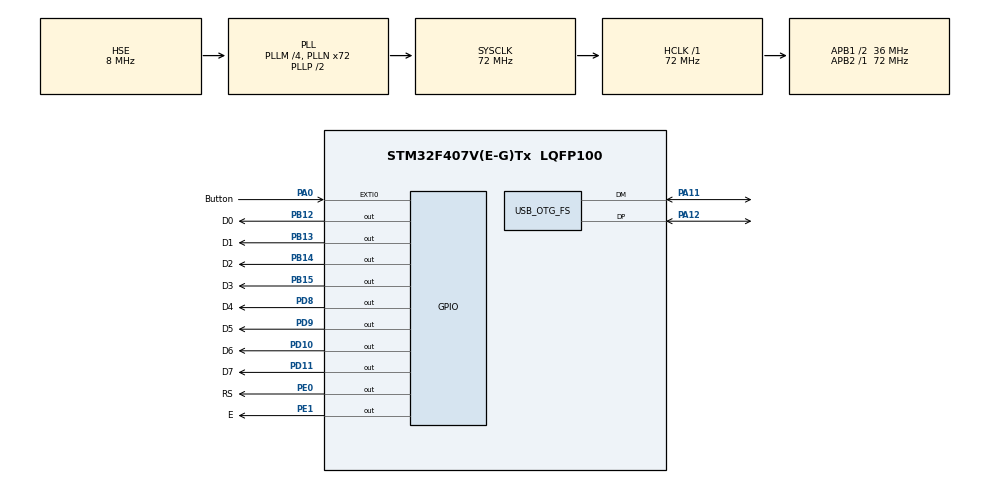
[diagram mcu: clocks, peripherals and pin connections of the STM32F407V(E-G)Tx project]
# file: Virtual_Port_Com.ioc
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Mcu.Family=STM32F4
Mcu.Name=STM32F407V(E-G)Tx
Mcu.Package=LQFP100
NVIC.OTG_FS_IRQn=true\:0\:0\:false\:false\:true\:false
NVIC.PriorityGroup=NVIC_PRIORITYGROUP_4
PA0-WKUP.GPIO_Label=Button
PA0-WKUP.Signal=GPXTI0
PA11.Mode=Device_Only
PA11.Signal=USB_OTG_FS_DM
PA12.Mode=Device_Only
PA12.Signal=USB_OTG_FS_DP
PB12.GPIO_Label=D0
PB12.Signal=GPIO_Output
PB13.GPIO_Label=D1
PB13.Signal=GPIO_Output
PB14.GPIO_Label=D2
PB14.Signal=GPIO_Output
PB15.GPIO_Label=D3
PB15.Signal=GPIO_Output
PD10.GPIO_Label=D6
PD10.Signal=GPIO_Output
PD11.GPIO_Label=D7
PD11.Signal=GPIO_Output
PD8.GPIO_Label=D4
PD8.Signal=GPIO_Output
PD9.GPIO_Label=D5
PD9.Signal=GPIO_Output
PE0.GPIO_Label=RS
PE0.Signal=GPIO_Output
PE1.GPIO_Label=E
PE1.Signal=GPIO_Output
PH0-OSC_IN.Mode=HSE-External-Oscillator
PH0-OSC_IN.Signal=RCC_OSC_IN
PH1-OSC_OUT.Mode=HSE-External-Oscillator
PH1-OSC_OUT.Signal=RCC_OSC_OUT
ProjectManager.HeapSize=0x200
ProjectManager.StackSize=0x400
ProjectManager.TargetToolchain=SW4STM32
RCC.48MHZClocksFreq_Value=48000000
RCC.AHBFreq_Value=72000000
RCC.APB1CLKDivider=RCC_HCLK_DIV2
RCC.APB1Freq_Value=36000000
RCC.APB1TimFreq_Value=72000000
RCC.APB2Freq_Value=72000000
RCC.APB2TimFreq_Value=72000000
RCC.CortexFreq_Value=72000000
RCC.HCLKFreq_Value=72000000
RCC.HSE_VALUE=8000000
RCC.HSI_VALUE=16000000
RCC.LSE_VALUE=32768
RCC.PLLM=4
RCC.PLLN=72
RCC.PLLQ=3
RCC.SYSCLKFreq_VALUE=72000000
RCC.SYSCLKSource=RCC_SYSCLKSOURCE_PLLCLK
RCC.VCOOutputFreq_Value=144000000
USB_DEVICE.CLASS_NAME_FS=CDC
USB_DEVICE.VirtualMode-CDC_FS=Cdc
USB_DEVICE.VirtualModeFS=Cdc_FS
USB_OTG_FS.VirtualMode=Device_Only
VP_USB_DEVICE_VS_USB_DEVICE_CDC_FS.Mode=CDC_FS
board=custom

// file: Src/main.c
/* USER CODE BEGIN Header */
/**
  ******************************************************************************
  * @file           : main.c
  * @brief          : Main program body
  ******************************************************************************
  * This notice applies to any and all portions of this file
  * that are not between comment pairs USER CODE BEGIN and
  * USER CODE END. Other portions of this file, whether
  * inserted by the user or by software development tools
  * are owned by their respective copyright owners.
  *
  * Copyright (c) 2019 STMicroelectronics International N.V.
  * All rights reserved.
  *
  * Redistribution and use in source and binary forms, with or without
  * modification, are permitted, provided that the following conditions are met:
  *
  * 1. Redistribution of source code must retain the above copyright notice,
  *    this list of conditions and the following disclaimer.
  * 2. Redistributions in binary form must reproduce the above copyright notice,
  *    this list of conditions and the following disclaimer in the documentation
  *    and/or other materials provided with the distribution.
  * 3. Neither the name of STMicroelectronics nor the names of other
  *    contributors to this software may be used to endorse or promote products
  *    derived from this software without specific written permission.
  * 4. This software, including modifications and/or derivative works of this
  *    software, must execute solely and exclusively on microcontroller or
  *    microprocessor devices manufactured by or for STMicroelectronics.
  * 5. Redistribution and use of this software other than as permitted under
  *    this license is void and will automatically terminate your rights under
  *    this license.
  *
  * THIS SOFTWARE IS PROVIDED BY STMICROELECTRONICS AND CONTRIBUTORS "AS IS"
  * AND ANY EXPRESS, IMPLIED OR STATUTORY WARRANTIES, INCLUDING, BUT NOT
  * LIMITED TO, THE IMPLIED WARRANTIES OF MERCHANTABILITY, FITNESS FOR A
  * PARTICULAR PURPOSE AND NON-INFRINGEMENT OF THIRD PARTY INTELLECTUAL PROPERTY
  * RIGHTS ARE DISCLAIMED TO THE FULLEST EXTENT PERMITTED BY LAW. IN NO EVENT
  * SHALL STMICROELECTRONICS OR CONTRIBUTORS BE LIABLE FOR ANY DIRECT, INDIRECT,
  * INCIDENTAL, SPECIAL, EXEMPLARY, OR CONSEQUENTIAL DAMAGES (INCLUDING, BUT NOT
  * LIMITED TO, PROCUREMENT OF SUBSTITUTE GOODS OR SERVICES; LOSS OF USE, DATA,
  * OR PROFITS; OR BUSINESS INTERRUPTION) HOWEVER CAUSED AND ON ANY THEORY OF
  * LIABILITY, WHETHER IN CONTRACT, STRICT LIABILITY, OR TORT (INCLUDING
  * NEGLIGENCE OR OTHERWISE) ARISING IN ANY WAY OUT OF THE USE OF THIS SOFTWARE,
  * EVEN IF ADVISED OF THE POSSIBILITY OF SUCH DAMAGE.
  *
  ******************************************************************************
  */
/* USER CODE END Header */

#include "main.h"
#include "usb_device.h"

/* USER CODE BEGIN Includes */
#include "usbd_cdc_if.h" // Plik bedacy interfejsem uzytkownika do kontrolera USB
/* USER CODE END Includes */

/* USER CODE BEGIN PV */
uint8_t DataToSend[40]; // Tablica zawierajaca dane do wyslania
uint8_t MessageCounter = 0; // Licznik wyslanych wiadomosci
uint8_t MessageLength = 0; // Zawiera dlugosc wysylanej wiadomosci

uint8_t ReceivedData[40]; // Tablica przechowujaca odebrane dane
uint8_t ReceivedDataFlag = 0; // Flaga informujaca o odebraniu danych
/* USER CODE END PV */

void SystemClock_Config(void);
static void MX_GPIO_Init(void);

int main(void)
{

  /* MCU Configuration--------------------------------------------------------*/

  /* Reset of all peripherals, Initializes the Flash interface and the Systick. */
  HAL_Init();

  /* Configure the system clock */
  SystemClock_Config();

  /* Initialize all configured peripherals */
  MX_GPIO_Init();
  MX_USB_DEVICE_Init();
  /* USER CODE BEGIN 2 */
  LCD1602_Begin4BIT(RS_GPIO_Port, RS_Pin, E_Pin, D4_GPIO_Port, D4_Pin, D5_Pin, D6_Pin, D7_Pin);

  /* USER CODE END 2 */

  /* Infinite loop */
  /* USER CODE BEGIN WHILE */
  while (1)
  {

	  if (HAL_GPIO_ReadPin(Button_GPIO_Port, Button_Pin) == GPIO_PIN_SET) {
	   HAL_Delay(100);
	   if (HAL_GPIO_ReadPin(Button_GPIO_Port, Button_Pin) == GPIO_PIN_SET) {

	   ++MessageCounter;
	   MessageLength = sprintf(DataToSend, "Wiadomosc nr %d\n\r", MessageCounter);

	   CDC_Transmit_FS(DataToSend, MessageLength);
	   }
	   }
	  if(ReceivedDataFlag == 1){

		   LCD1602_clear();
	 	   ReceivedDataFlag = 0;
	 	   MessageLength = sprintf(DataToSend, "Odebrano: %s\n\r", ReceivedData);

	 	   LCD1602_print(ReceivedData);
	 	   CDC_Transmit_FS(DataToSend, MessageLength);
	 	  }
    /* USER CODE END WHILE */

  }
}

void SystemClock_Config(void)
{
  RCC_OscInitTypeDef RCC_OscInitStruct = {0};
  RCC_ClkInitTypeDef RCC_ClkInitStruct = {0};

  /**Configure the main internal regulator output voltage
  */
  __HAL_RCC_PWR_CLK_ENABLE();
  __HAL_PWR_VOLTAGESCALING_CONFIG(PWR_REGULATOR_VOLTAGE_SCALE1);
  /**Initializes the CPU, AHB and APB busses clocks
  */
  RCC_OscInitStruct.OscillatorType = RCC_OSCILLATORTYPE_HSE;
  RCC_OscInitStruct.HSEState = RCC_HSE_ON;
  RCC_OscInitStruct.PLL.PLLState = RCC_PLL_ON;
  RCC_OscInitStruct.PLL.PLLSource = RCC_PLLSOURCE_HSE;
  RCC_OscInitStruct.PLL.PLLM = 4;
  RCC_OscInitStruct.PLL.PLLN = 72;
  RCC_OscInitStruct.PLL.PLLP = RCC_PLLP_DIV2;
  RCC_OscInitStruct.PLL.PLLQ = 3;
  if (HAL_RCC_OscConfig(&RCC_OscInitStruct) != HAL_OK)
  {
    Error_Handler();
  }
  /**Initializes the CPU, AHB and APB busses clocks
  */
  RCC_ClkInitStruct.ClockType = RCC_CLOCKTYPE_HCLK|RCC_CLOCKTYPE_SYSCLK
                              |RCC_CLOCKTYPE_PCLK1|RCC_CLOCKTYPE_PCLK2;
  RCC_ClkInitStruct.SYSCLKSource = RCC_SYSCLKSOURCE_PLLCLK;
  RCC_ClkInitStruct.AHBCLKDivider = RCC_SYSCLK_DIV1;
  RCC_ClkInitStruct.APB1CLKDivider = RCC_HCLK_DIV2;
  RCC_ClkInitStruct.APB2CLKDivider = RCC_HCLK_DIV1;

  if (HAL_RCC_ClockConfig(&RCC_ClkInitStruct, FLASH_LATENCY_2) != HAL_OK)
  {
    Error_Handler();
  }
}

static void MX_GPIO_Init(void)
{
  GPIO_InitTypeDef GPIO_InitStruct = {0};

  /* GPIO Ports Clock Enable */
  __HAL_RCC_GPIOH_CLK_ENABLE();
  __HAL_RCC_GPIOA_CLK_ENABLE();
  __HAL_RCC_GPIOB_CLK_ENABLE();
  __HAL_RCC_GPIOD_CLK_ENABLE();
  __HAL_RCC_GPIOE_CLK_ENABLE();

  /*Configure GPIO pin Output Level */
  HAL_GPIO_WritePin(GPIOB, D0_Pin|D1_Pin|D2_Pin|D3_Pin, GPIO_PIN_RESET);

  /*Configure GPIO pin Output Level */
  HAL_GPIO_WritePin(GPIOD, D4_Pin|D5_Pin|D6_Pin|D7_Pin, GPIO_PIN_RESET);

  /*Configure GPIO pin Output Level */
  HAL_GPIO_WritePin(GPIOE, RS_Pin|E_Pin, GPIO_PIN_RESET);

  /*Configure GPIO pin : Button_Pin */
  GPIO_InitStruct.Pin = Button_Pin;
  GPIO_InitStruct.Mode = GPIO_MODE_IT_RISING;
  GPIO_InitStruct.Pull = GPIO_NOPULL;
  HAL_GPIO_Init(Button_GPIO_Port, &GPIO_InitStruct);

  /*Configure GPIO pins : D0_Pin D1_Pin D2_Pin D3_Pin */
  GPIO_InitStruct.Pin = D0_Pin|D1_Pin|D2_Pin|D3_Pin;
  GPIO_InitStruct.Mode = GPIO_MODE_OUTPUT_PP;
  GPIO_InitStruct.Pull = GPIO_NOPULL;
  GPIO_InitStruct.Speed = GPIO_SPEED_FREQ_LOW;
  HAL_GPIO_Init(GPIOB, &GPIO_InitStruct);

  /*Configure GPIO pins : D4_Pin D5_Pin D6_Pin D7_Pin */
  GPIO_InitStruct.Pin = D4_Pin|D5_Pin|D6_Pin|D7_Pin;
  GPIO_InitStruct.Mode = GPIO_MODE_OUTPUT_PP;
  GPIO_InitStruct.Pull = GPIO_NOPULL;
  GPIO_InitStruct.Speed = GPIO_SPEED_FREQ_LOW;
  HAL_GPIO_Init(GPIOD, &GPIO_InitStruct);

  /*Configure GPIO pins : RS_Pin E_Pin */
  GPIO_InitStruct.Pin = RS_Pin|E_Pin;
  GPIO_InitStruct.Mode = GPIO_MODE_OUTPUT_PP;
  GPIO_InitStruct.Pull = GPIO_NOPULL;
  GPIO_InitStruct.Speed = GPIO_SPEED_FREQ_LOW;
  HAL_GPIO_Init(GPIOE, &GPIO_InitStruct);

}

void Error_Handler(void)
{
}

/************************ (C) COPYRIGHT STMicroelectronics *****END OF FILE****/
